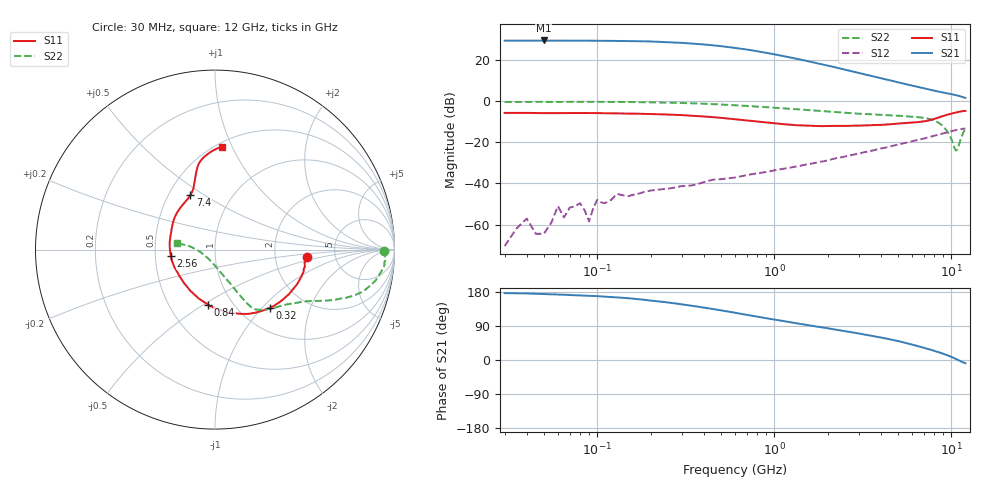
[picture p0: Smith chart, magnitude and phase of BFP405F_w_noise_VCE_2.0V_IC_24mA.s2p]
! Infineon Technologies  Discrete & RF Semiconductors
! BFP405F
! VCE =  2.0 V,  IC =  24 mA
! Common Emitter S-Parameters:  Nov 2015
# GHz  S  MA  R  50
!  f  S11  S21  S12  S22
! GHz  MAG  ANG  MAG  ANG  MAG  ANG  MAG  ANG
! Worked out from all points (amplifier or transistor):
!   239 points, 30 MHz to 12 GHz, reference 50 ohm
!   highest |S21| = 29.3 dB at 50 MHz (marker M1)
!   |S21| within 3 dB of that: start of sweep to 527.1 MHz
!   unconditionally stable (mu >= 1): start of sweep to 59.96 MHz; 60.39 MHz to 65.18 MHz; 1.221 GHz to end of sweep
!   at 300 MHz: K = 0.38, MSG = 34.7 dB, |S12| = -41.3 dB
!   at 1.88 GHz: K = 1.23, MAG = 20.6 dB, |S12| = -29.3 dB
!   at 12 GHz: K = 1.45, MAG = 3.4 dB, |S12| = -13.3 dB
!   lowest NFmin = 2.43 dB at 450 MHz
!   S11 on the Smith chart (normalised r, x): 30 MHz: 3.06, -0.36; 320 MHz: 1.36, -1.10; 840 MHz: 0.77, -0.52; 2.56 GHz: 0.60, -0.04; 7.4 GHz: 0.64, +0.44; 12 GHz: 0.54, +0.91
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0.03  0.513 -4.9  28.96 176.5  0.0003 49.8  0.9407 -0.5
0.04  0.5123 -6.3  29.03 175.6  0.0014 66.6  0.9477 -0.8
0.05  0.5043 -8.4  29.21 174.0  0.0006 -167.0  0.9436 -1.3
0.06  0.5066 -9.2  29 173.0  0.0028 14.2  0.9434 -1.9
0.065  0.5081 -10.0  28.98 172.2  0.0015 67.3  0.9473 -2.2
0.085  0.5074 -13.2  28.83 170.0  0.0022 87.1  0.9504 -3.4
0.09  0.5087 -13.9  28.87 169.6  0.0012 89.1  0.9505 -3.8
0.1  0.5057 -15.6  28.69 168.5  0.004 52.6  0.9464 -4.2
0.15  0.4952 -23.5  28.28 163.0  0.0049 87.2  0.94 -6.7
0.2  0.4813 -30.9  27.61 156.9  0.0067 81.3  0.9249 -9.0
0.24  0.47 -36.2  26.72 152.9  0.0073 79.8  0.9131 -10.6
0.32  0.4451 -46.8  25.1 145.2  0.0087 78.1  0.8833 -13.4
0.45  0.4046 -62.2  22.3 134.4  0.0123 73.1  0.835 -17.1
0.6  0.3599 -77.7  19.28 124.5  0.0139 69.2  0.7836 -19.9
0.84  0.3095 -97.2  15.47 112.8  0.0181 69.8  0.7192 -22.9
1.2  0.2676 -121.1  11.6 100.5  0.0236 67.7  0.6507 -26.0
1.64  0.2472 -142.6  8.717 90.2  0.0303 69.7  0.5914 -29.1
2.56  0.2482 -172.0  5.596 75.4  0.0459 68.9  0.5125 -36.3
4.5  0.2709 152.2  3.127 54.6  0.0784 63.1  0.45 -47.4
7.4  0.3335 114.4  1.902 29.0  0.13 51.3  0.3709 -58.2
10.6  0.5218 96.4  1.382 2.9  0.1963 32.8  0.0625 -125.0
12  0.5718 86.1  1.182 -8.4  0.2155 24.6  0.2132 170.8
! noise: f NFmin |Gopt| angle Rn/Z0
0.45  2.43  0.04  -155  0.42
0.9  2.46  0.05  -147  0.25
1.5  2.53  0.09  -136  0.33
1.9  2.62  0.1  -132  0.4
2.4  2.79  0.12  -128  0.18
3  2.92  0.13  -125  0.16
3.5  3.04  0.14  -122  0.26
4.5  3.34  0.18  -108  0.56
5.5  3.72  0.34  -88  0.53
